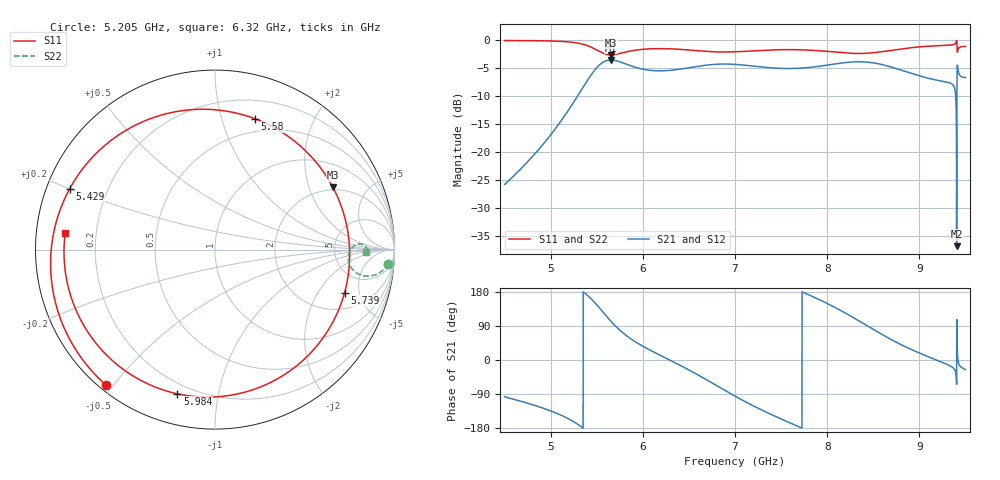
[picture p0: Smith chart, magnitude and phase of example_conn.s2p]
! TOUCHSTONE file generated by CST MICROWAVE STUDIO
! Date and time: Wed Mar  5 20:28:54 2025
! Project name: CONN_LARGO_BW_6a8ymedio.cst
! Parameters = {Lc4=5.21069; Cz=-26.0138; H=17; Hbl=9.99467; Hbt=5.00778; Hl=7.50132; Hposte=1.00357; Hposte2=1.00245; Ht=8.345; L=2; Lb1=2; Lb2=3.40895; Lc1=2.23718; Lc2=8.77664; Lc3=0.352447; Ldielectrico=9.906; Lextra=14.98; Lextra2=17.87; Lp1=7; Lp2=8; Lp3=2; Pb2=0; Rposte=1.18983; Rposte2=1.189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
! Header version: 2018
! Port assignment regex: !\s*Touchstone port\s*([0-9]+)\s*=\s*(CST MWS port|CST DS port)\s*([0-9]+|Zmin|Zmax)\s*\(\"(.*)\"\)(\s*mode\s*([0-9]+))?.*
! Touchstone port assignment:
! Touchstone port 1 = CST MWS port 1 ("")
! Touchstone port 2 = CST MWS port 2 ("")
# GHz S MA R 50
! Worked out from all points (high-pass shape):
!   5001 points, 4.5 GHz to 9.5 GHz, reference 50 ohm
!   highest |S21| = -3.50 dB at 5.653 GHz (marker M1); lowest = -36.9 dB at 9.405 GHz (marker M2)
!   |S21| within 3 dB of the highest: 5.425 GHz to 9.032 GHz (3.607 GHz wide, 49.9 % of centre); 9.409231 GHz to 9.45607 GHz (46.84 MHz wide, 0.497 % of centre)
!   lowest |S11| = -2.6 dB at 5.653 GHz (marker M3), VSWR 6.78, Z = 94.4 + j146 ohm
!   |S11| at or under -10 dB: nowhere
!   |S22| runs from -2.6 to 0.0 dB; largest |S21 - S12| = 0.00015
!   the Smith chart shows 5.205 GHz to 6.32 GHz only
!   S11 on the Smith chart (normalised r, x): 5.205 GHz: 0.02, -0.48; 5.429 GHz: 0.07, +0.20; 5.58 GHz: 0.37, +1.28; 5.739 GHz: 3.11, -3.55; 5.984 GHz: 0.15, -0.76; 6.32 GHz: 0.09, +0.05
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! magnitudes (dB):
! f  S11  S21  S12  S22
! 4.5 GHz  0.0  -25.8  -25.8  0.0
! 4.874 GHz  -0.1  -19.5  -19.5  0.0
! 5.205 GHz  -0.3  -12.2  -12.2  -0.3
! 5.334 GHz  -0.6  -8.9  -8.9  -0.6
! 5.429 GHz  -1.1  -6.4  -6.4  -1.1
! 5.58 GHz  -2.4  -3.8  -3.8  -2.3
! 5.653 GHz  -2.6  -3.5  -3.5  -2.6
! 5.739 GHz  -2.4  -3.8  -3.8  -2.4
! 5.984 GHz  -1.6  -5.1  -5.1  -1.6
! 6.167 GHz  -1.5  -5.4  -5.4  -1.5
! 6.32 GHz  -1.5  -5.3  -5.3  -1.5
! 7 GHz  -2.0  -4.3  -4.3  -2.0
! 7.834 GHz  -1.8  -4.8  -4.8  -1.8
! 8.333 GHz  -2.3  -3.8  -3.8  -2.3
! 8.667 GHz  -1.8  -4.6  -4.6  -1.8
! 9.337 GHz  -0.8  -7.6  -7.6  -0.8
! 9.371 GHz  -0.7  -8.1  -8.1  -0.7
! 9.383 GHz  -0.6  -8.6  -8.6  -0.7
! 9.405 GHz  0.0  -36.9  -36.9  0.0
! 9.425 GHz  -1.4  -5.7  -5.7  -1.4
! 9.434 GHz  -1.3  -6.1  -6.1  -1.2
! 9.5 GHz  -1.1  -6.6  -6.6  -1.1
